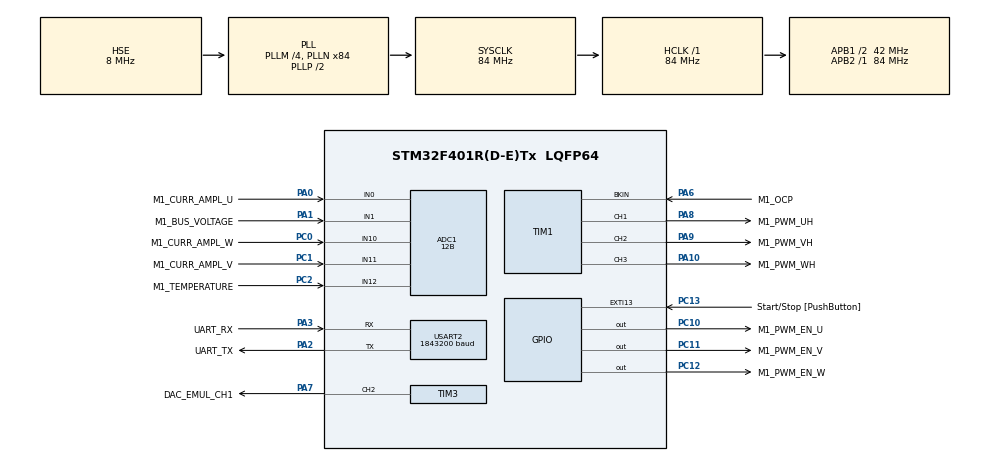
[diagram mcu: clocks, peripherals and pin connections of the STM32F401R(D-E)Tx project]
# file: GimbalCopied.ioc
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ADC1.Channel-1\#ChannelInjectedConversion=ADC_CHANNEL_0
ADC1.Channel-1\#ChannelRegularConversion=ADC_CHANNEL_1
ADC1.Channel-2\#ChannelInjectedConversion=ADC_CHANNEL_11
ADC1.Channel-2\#ChannelRegularConversion=ADC_CHANNEL_12
ADC1.Channel-3\#ChannelInjectedConversion=ADC_CHANNEL_10
ADC1.ClockPrescaler=ADC_CLOCK_SYNC_PCLK_DIV4
ADC1.ContinuousConvMode=DISABLE
ADC1.DMAContinuousRequests=DISABLE
ADC1.DataAlign=ADC_DATAALIGN_LEFT
ADC1.DiscontinuousConvMode=DISABLE
ADC1.EOCSelection=ADC_EOC_SINGLE_CONV
ADC1.EnableAnalogWatchDog=false
ADC1.EnableInjectedConversion=ENABLE
ADC1.EnableRegularConversion=ENABLE
ADC1.ExternalTrigConv=ADC_SOFTWARE_START
ADC1.ExternalTrigConvEdge=ADC_EXTERNALTRIGCONVEDGE_NONE
ADC1.ExternalTrigInjecConv=ADC_EXTERNALTRIGINJECCONV_T1_CC4
ADC1.ExternalTrigInjecConvEdge=ADC_EXTERNALTRIGINJECCONVEDGE_RISING
ADC1.InjNumberOfConversion=3
ADC1.InjectedConvMode=None
ADC1.InjectedOffset-1\#ChannelInjectedConversion=0
ADC1.InjectedOffset-2\#ChannelInjectedConversion=0
ADC1.InjectedOffset-3\#ChannelInjectedConversion=0
ADC1.InjectedRank-1\#ChannelInjectedConversion=1
ADC1.InjectedRank-2\#ChannelInjectedConversion=2
ADC1.InjectedRank-3\#ChannelInjectedConversion=3
ADC1.NbrOfConversion=2
ADC1.NbrOfConversionFlag=1
ADC1.Offset-1\#ChannelRegularConversion=0
ADC1.Offset-2\#ChannelRegularConversion=0
ADC1.OffsetNumber-1\#ChannelRegularConversion=ADC_OFFSET_NONE
ADC1.OffsetNumber-2\#ChannelRegularConversion=ADC_OFFSET_NONE
ADC1.Rank-1\#ChannelRegularConversion=1
ADC1.Rank-2\#ChannelRegularConversion=2
ADC1.Resolution=ADC_RESOLUTION_12B
ADC1.SamplingTime-1\#ChannelInjectedConversion=ADC_SAMPLETIME_15CYCLES
ADC1.SamplingTime-1\#ChannelRegularConversion=ADC_SAMPLETIME_28CYCLES
ADC1.SamplingTime-2\#ChannelInjectedConversion=ADC_SAMPLETIME_15CYCLES
ADC1.SamplingTime-2\#ChannelRegularConversion=ADC_SAMPLETIME_28CYCLES
ADC1.SamplingTime-3\#ChannelInjectedConversion=ADC_SAMPLETIME_15CYCLES
ADC1.ScanConvMode=ENABLE
ADC1.master=1
Dma.Request0=USART2_RX
Dma.Request1=USART2_TX
Dma.USART2_RX.0.Direction=DMA_PERIPH_TO_MEMORY
Dma.USART2_RX.0.FIFOMode=DMA_FIFOMODE_DISABLE
Dma.USART2_RX.0.Instance=DMA1_Stream5
Dma.USART2_RX.0.MemDataAlignment=DMA_MDATAALIGN_BYTE
Dma.USART2_RX.0.MemInc=DMA_MINC_ENABLE
Dma.USART2_RX.0.Mode=DMA_NORMAL
Dma.USART2_RX.0.PeriphDataAlignment=DMA_PDATAALIGN_BYTE
Dma.USART2_RX.0.PeriphInc=DMA_PINC_DISABLE
Dma.USART2_RX.0.Priority=DMA_PRIORITY_LOW
Dma.USART2_TX.1.Direction=DMA_MEMORY_TO_PERIPH
Dma.USART2_TX.1.FIFOMode=DMA_FIFOMODE_DISABLE
Dma.USART2_TX.1.Instance=DMA1_Stream6
Dma.USART2_TX.1.MemDataAlignment=DMA_MDATAALIGN_BYTE
Dma.USART2_TX.1.MemInc=DMA_MINC_ENABLE
Dma.USART2_TX.1.Mode=DMA_NORMAL
Dma.USART2_TX.1.PeriphDataAlignment=DMA_PDATAALIGN_BYTE
Dma.USART2_TX.1.PeriphInc=DMA_PINC_DISABLE
Dma.USART2_TX.1.Priority=DMA_PRIORITY_LOW
ExtraMW=MotorControl
ExtraMW.MotorControl.Config=MotorControl
ExtraMW.MotorControl.Mode=MotorControl
ExtraMW.MotorControl.Root=MCSDK_v6.1.2-Full/MotorControl
ExtraMW.MotorControl.Template=templates
FREERTOS.Tasks01=mediumFrequency,0,128,startMediumFrequencyTask,As weak,NULL,Dynamic,NULL,NULL;safety,1,128,StartSafetyTask,As external,NULL,Dynamic,NULL,NULL;userTask,-2,128,StartUserTask,Default,NULL,Dynamic,NULL,NULL;motorTask,-1,128,StartMotorTask,Default,NULL,Dynamic,NULL,NULL
FREERTOS.configUSE_NEWLIB_REENTRANT=1
Mcu.Family=STM32F4
Mcu.Name=STM32F401R(D-E)Tx
Mcu.Package=LQFP64
MotorControl.ADC_AHBPERIPH=RCC_AHBPeriph_ADC1
MotorControl.ADC_CLOCK_WB_DIV=1
MotorControl.ADC_PERIPH=ADC1
MotorControl.ADC_REFERENCE_VOLTAGE=3.3
MotorControl.AMPLIFICATION_GAIN=1.53
MotorControl.ANGC={0,0,0,0,0,0,0,0}
MotorControl.BEMF_CONSISTENCY_GAIN=64
MotorControl.BEMF_CONSISTENCY_TOL=64
MotorControl.BKIN1_FILTER=3
MotorControl.BKIN2_FILTER=0
MotorControl.BKIN2_MODE=NONE
MotorControl.BKIN_MODE=EXT_MODE
MotorControl.BOARD=NUCLEO-F401RE
MotorControl.BUS_VOLTAGE_READING=true
MotorControl.CCMRAM_ENABLED=false
MotorControl.CLOCK_FREQUENCY=CPU_CLK_84_MHZ
MotorControl.CLOCK_SOURCE=EXTERNAL
MotorControl.CONSTANT1_D=2875
MotorControl.CONSTANT1_Q=2875
MotorControl.CONSTANT2_QD=2718
MotorControl.CPU_CLK_84_MHZ=true
MotorControl.CTLBOARD_NAME=NUCLEO-F401RE
MotorControl.CUBE_MX_VER=6.9.1
MotorControl.CURRENT_READING_TOPOLOGY=THREE_SHUNT
MotorControl.CURR_SAMPLING_TIME=15
MotorControl.DAC_EMULATED=true
MotorControl.DAC_EMULATED_1=CH2
MotorControl.DAC_FUNCTIONALITY=true
MotorControl.DAC_TIMER_CH1_GPIO_PIN=LL_GPIO_PIN_7
MotorControl.DAC_TIMER_CH1_GPIO_PORT=GPIOA
MotorControl.DAC_TIMER_SELECTION=TIM3
MotorControl.DC_CURRENT_RS_MEAS=0.2
MotorControl.DEBUG_DAC_CH1=true
MotorControl.DEFAULT_CONTROL_MODE=STC_SPEED_MODE
MotorControl.DEFAULT_FLUX_COMPONENT=0
MotorControl.DEFAULT_TARGET_SPEED_RPM=50
MotorControl.DEFAULT_TORQUE_COMPONENT=12016
MotorControl.DISCONTINUOUS_PWM=false
MotorControl.DRIVES_NUMBER_SELECTION=SINGLEDRIVE
MotorControl.DRIVE_TYPE=FOC
MotorControl.EMERGENCY2_STOP_GPIO_PIN=LL_GPIO_PIN_6
MotorControl.EMERGENCY2_STOP_GPIO_PORT=GPIOA
MotorControl.EMERGENCY_STOP_GPIO_PIN=LL_GPIO_PIN_6
MotorControl.EMERGENCY_STOP_GPIO_PORT=GPIOA
MotorControl.ENABLE_SL_ALGO_FROM_PHASE=3
MotorControl.ENCODER_AVAILABLE=false
MotorControl.ENCODER_PPR=400
MotorControl.EXT_CLK_8_MHZ=true
MotorControl.EXT_CLOCK_FREQUENCY=EXT_CLK_8_MHZ
MotorControl.F1=1024
MotorControl.F2=16384
MotorControl.FEEDBACK_NET_FILTERING=false
MotorControl.FEED_FORWARD_CURRENT_REG_ENABLING=false
MotorControl.FLUX_WEAKENING_ENABLING=false
MotorControl.FW_KIDIV=32768
MotorControl.FW_KI_GAIN=5000
MotorControl.FW_KPDIV=32768
MotorControl.FW_KP_GAIN=3000
MotorControl.FW_VOLTAGE_REF=985
MotorControl.GAIN1=-1380
MotorControl.GAIN2=2898
MotorControl.HALL_PHASE_SHIFT=300
MotorControl.HALL_SENSORS_AVAILABLE=false
MotorControl.HALL_SENSORS_PLACEMENT=DEGREES_120
MotorControl.HIGH_SIDE_IDLE_STATE=false
MotorControl.HWV_CS=ThreeShunt_AmplifiedCurrents
MotorControl.HWV_OCP=OnPowerStageOCP
MotorControl.HWV_PWM=DrivingHighSidesAndThreeEnables
MotorControl.HW_COMPLEMENTED_LOW_SIDE=true
MotorControl.HW_DEAD_TIME_NS=1000
MotorControl.ID_DEMAG=-2002
MotorControl.IPs=NVIC,RCC,MotorControl,TIM1,ADC1,TIM3,USART2,FREERTOS,DMA
MotorControl.IQMAX=2002
MotorControl.LDLQ_RATIO=1.000
MotorControl.LOW_SIDE_IDLE_STATE=false
MotorControl.LOW_SIDE_SIGNALS_ENABLING=ES_GPIO
MotorControl.LS=0.000018
MotorControl.M1_CS_ADC_NUM=1
MotorControl.M1_CS_ADC_PHASE_SHARED=None
MotorControl.M1_CS_ADC_U=ADC1
MotorControl.M1_CS_ADC_V=ADC1
MotorControl.M1_CS_ADC_W=ADC1
MotorControl.M1_CS_CHANNEL_U=0
MotorControl.M1_CS_CHANNEL_V=11
MotorControl.M1_CS_CHANNEL_W=10
MotorControl.M1_CURRENT_AMPLIFICATION_TOPO=EXTERNAL
MotorControl.M1_CURRENT_PROTECTION_DESTINATION=TIM_BKIN
MotorControl.M1_CURRENT_PROTECTION_TOPOLOGY=EXTERNAL
MotorControl.M1_CURRENT_SENSING_TOPO=THREE_SHUNT
MotorControl.M1_DBG_OPEN_LOOP_ENABLE=true
MotorControl.M1_ICL_ENABLED=false
MotorControl.M1_OVP_THRESHOLD_HIGH=17
MotorControl.M1_POTENTIOMETER_ENABLE=false
MotorControl.M1_PWM_CHARGE_BOOT_CAP_DUTY_CYCLES=0.000
MotorControl.M1_PWM_CHARGE_BOOT_CAP_MS=10
MotorControl.M1_PWM_DRIVER_PN=L6230
MotorControl.M1_SS_MEAS_ERRORS_BEFORE_FAULTS=5
MotorControl.MAX_APPLICATION_SPEED=15000
MotorControl.MAX_MODULATION_81_PER_CENT=true
MotorControl.MAX_MODULATION_INDEX=MAX_MODULATION_81_PER_CENT
MotorControl.MAX_READABLE_CURRENT=3.272
MotorControl.MCP_ASPEP_OVER_UART=true
MotorControl.MCP_DATALOG_OVER_ASPEP=true
MotorControl.MCP_DATALOG_OVER_UART_A=true
MotorControl.MCP_DATALOG_OVER_UART_A_SIGNALS=10
MotorControl.MCP_DATALOG_PAYLOAD_MAX_UART_A=2048
MotorControl.MCP_DATALOG_USED=true
MotorControl.MCP_DMACH_RX_UART_A=5
MotorControl.MCP_DMACH_TX_UART_A=6
MotorControl.MCP_DMA_RX_UART_A=DMA1
MotorControl.MCP_DMA_TX_UART_A=DMA1
MotorControl.MCP_IRQ_HANDLER_DMA_RX_UART_A=DMA1_Stream5_IRQHandler
MotorControl.MCP_IRQ_HANDLER_UART_A=USART2_IRQHandler
MotorControl.MCP_OVER_ASPEP=true
MotorControl.MCP_OVER_STLNK=false
MotorControl.MCP_OVER_UART_A=true
MotorControl.MCP_OVER_UART_B=false
MotorControl.MCP_RX_SYNC_PAYLOAD_MAX=128
MotorControl.MCP_TX_SYNC_PAYLOAD_MAX=128
MotorControl.MCP_UART_SELECTION_A=USART2
MotorControl.MCP_USED=true
MotorControl.MCU=STM32F401RE
MotorControl.MCU_FAMILY=STM32F4
MotorControl.MCU_LINE=STM32F401
MotorControl.MCU_NAME=STM32F401R(D-E)Tx
MotorControl.MCU_PACKAGE=LQFP64
MotorControl.MCU_TYPE=STM32F401RE
MotorControl.MCU_USERNAME=STM32F401RETx
MotorControl.MC_WORKBENCH_VERSION=6.1.2
MotorControl.MIN_APPLICATION_SPEED=1
MotorControl.MOTOR_MAX_SPEED_RPM=15000
MotorControl.MOTOR_NAME=Bull Running BR2804-1700
MotorControl.MOTOR_TYPE=PMSM
MotorControl.MOTOR_VOLTAGE_CONSTANT=0.4
MotorControl.MTPA_ENABLING=false
MotorControl.NB_CONSECUTIVE_TESTS=5
MotorControl.NOMINAL_BUS_VOLTAGE_V=14
MotorControl.NOMINAL_CURRENT=2002
MotorControl.OBS_MINIMUM_SPEED_RPM=1
MotorControl.OFST={0,0,0,0,0,0,0,0}
MotorControl.ON_OVER_VOLTAGE=TURN_OFF_PWM
MotorControl.OVERCURR_FEEDBACK_POLARITY=EMSTOP_ACTIVE_LOW
MotorControl.OVERMODULATION=false
MotorControl.OV_TEMPERATURE_HYSTERESIS_C=10
MotorControl.OV_TEMPERATURE_PROT_ENABLING=true
MotorControl.OV_TEMPERATURE_THRESHOLD_C=110
MotorControl.OV_VOLTAGE_PROT_ENABLING=true
MotorControl.OV_VOLTAGE_THRESHOLD_V=17
MotorControl.PHASE1_DURATION=500
MotorControl.PHASE1_FINAL_CURRENT=2002
MotorControl.PHASE1_FINAL_SPEED_RPM=10
MotorControl.PHASE2_DURATION=500
MotorControl.PHASE2_FINAL_CURRENT=2002
MotorControl.PHASE2_FINAL_SPEED_RPM=20
MotorControl.PHASE3_DURATION=500
MotorControl.PHASE3_FINAL_CURRENT=2002
MotorControl.PHASE3_FINAL_SPEED_RPM=30
MotorControl.PHASE4_DURATION=500
MotorControl.PHASE4_FINAL_CURRENT=2002
MotorControl.PHASE4_FINAL_SPEED_RPM=40
MotorControl.PHASE5_DURATION=1500
MotorControl.PHASE5_FINAL_CURRENT=2002
MotorControl.PHASE5_FINAL_SPEED_RPM=40
MotorControl.PHASE_UH_GPIO_PIN=LL_GPIO_PIN_8
MotorControl.PHASE_UH_GPIO_PORT=GPIOA
MotorControl.PHASE_UH_POLARITY=H_ACTIVE_HIGH
MotorControl.PHASE_UL_GPIO_PIN=LL_GPIO_PIN_10
MotorControl.PHASE_UL_GPIO_PORT=GPIOC
MotorControl.PHASE_UL_POLARITY=L_ACTIVE_HIGH
MotorControl.PHASE_U_CURR_ADC=ADC1
MotorControl.PHASE_U_CURR_CHANNEL=ADC_CHANNEL_0
MotorControl.PHASE_U_GPIO_PIN=LL_GPIO_PIN_0
MotorControl.PHASE_U_GPIO_PORT=GPIOA
MotorControl.PHASE_VH_GPIO_PIN=LL_GPIO_PIN_9
MotorControl.PHASE_VH_GPIO_PORT=GPIOA
MotorControl.PHASE_VH_POLARITY=H_ACTIVE_HIGH
MotorControl.PHASE_VL_GPIO_PIN=LL_GPIO_PIN_11
MotorControl.PHASE_VL_GPIO_PORT=GPIOC
MotorControl.PHASE_VL_POLARITY=L_ACTIVE_HIGH
MotorControl.PHASE_V_CURR_ADC=ADC1
MotorControl.PHASE_V_CURR_CHANNEL=ADC_CHANNEL_11
MotorControl.PHASE_V_GPIO_PIN=LL_GPIO_PIN_1
MotorControl.PHASE_V_GPIO_PORT=GPIOC
MotorControl.PHASE_WH_GPIO_PIN=LL_GPIO_PIN_10
MotorControl.PHASE_WH_GPIO_PORT=GPIOA
MotorControl.PHASE_WH_POLARITY=H_ACTIVE_HIGH
MotorControl.PHASE_WL_GPIO_PIN=LL_GPIO_PIN_12
MotorControl.PHASE_WL_GPIO_PORT=GPIOC
MotorControl.PHASE_WL_POLARITY=L_ACTIVE_HIGH
MotorControl.PHASE_W_CURR_ADC=ADC1
MotorControl.PHASE_W_CURR_CHANNEL=ADC_CHANNEL_10
MotorControl.PHASE_W_GPIO_PIN=LL_GPIO_PIN_0
MotorControl.PHASE_W_GPIO_PORT=GPIOC
MotorControl.PID_FLUX_KD_DEFAULT=100
MotorControl.PID_FLUX_KI_DEFAULT=42
MotorControl.PID_FLUX_KP_DEFAULT=207
MotorControl.PID_SPEED_KD_DEFAULT=0
MotorControl.PID_SPEED_KI_DEFAULT=1271
MotorControl.PID_SPEED_KP_DEFAULT=3952
MotorControl.PID_TORQUE_KD_DEFAULT=100
MotorControl.PID_TORQUE_KI_DEFAULT=42
MotorControl.PID_TORQUE_KP_DEFAULT=207
MotorControl.PLL_KI_GAIN=11
MotorControl.PLL_KP_GAIN=1862
MotorControl.POLE_PAIR_NUM=7
MotorControl.POSITION_CTRL_ENABLING=false
MotorControl.POTENTIOMETER_READING=false
MotorControl.POWERBOARD_NAME=X-NUCLEO-IHM07M1
MotorControl.PWM_FREQUENCY=30000
MotorControl.PWM_TIMER_SELECTION=PWM_TIM1
MotorControl.REGULATION_EXECUTION_RATE=1
MotorControl.RS=0.11
MotorControl.RSHUNT=0.33
MotorControl.RTOS=FREERTOS
MotorControl.RTOS_IRQ_NAME_WB2MX=TIM2_IRQn
MotorControl.RTOS_TIMER=TIM2
MotorControl.RTOS_USE_IRQ=true
MotorControl.R_BRAKE_SWITCH_OFF_THRES_V=13
MotorControl.SEGDIV=0
MotorControl.SHARED_SIGNAL_ENABLE=false
MotorControl.SINGLEDRIVE=true
MotorControl.SPD_DIFFERENTIAL_TERM_ENABLING=false
MotorControl.SPEED_BAND_LOWER_LIMIT=15
MotorControl.SPEED_BAND_UPPER_LIMIT=17
MotorControl.SPEED_FEEDBACK_CHECK=true
MotorControl.SPEED_LOOP_FREQUENCY_HZ=1000
MotorControl.SPEED_SENSOR_SELECTION=STATE_OBSERVER_PLL
MotorControl.SP_KDDIV=16
MotorControl.SP_KIDIV=16384
MotorControl.SP_KPDIV=64
MotorControl.STARTING_ANGLE_DEG=0
MotorControl.START_STOP_BTN=true
MotorControl.START_STOP_GPIO_PIN=LL_GPIO_PIN_13
MotorControl.START_STOP_GPIO_PORT=GPIOC
MotorControl.START_STOP_POLARITY=DIN_ACTIVE_LOW
MotorControl.START_STOP_POLARITY_EDGE=GPIO_NOPULL
MotorControl.STATE_OBSERVER_PLL=true
MotorControl.STM32F401RE=true
MotorControl.STO_FIFO_DEPTH_01HZ=64
MotorControl.STO_FIFO_DEPTH_DPP=64
MotorControl.SW_DEADTIME_NS=1000
MotorControl.SW_OV_CURRENT_PROT_ENABLING=true
MotorControl.T0_C=25
MotorControl.TEMPERATURE_READING=true
MotorControl.TEMP_ADC_SAMPLING_TIME=28
MotorControl.TEMP_FDBK_ADC=ADC1
MotorControl.TEMP_FDBK_CHANNEL=ADC_CHANNEL_12
MotorControl.TEMP_FDBK_GPIO_PIN=LL_GPIO_PIN_2
MotorControl.TEMP_FDBK_GPIO_PORT=GPIOC
MotorControl.TFDIFFERENTIAL_TERM_ENABLING=false
MotorControl.TF_KDDIV=8192
MotorControl.TF_KIDIV=16384
MotorControl.TF_KPDIV=16384
MotorControl.THREE_SHUNT=true
MotorControl.TNOISE_NS=700
MotorControl.TRANSITION_DURATION=1500
MotorControl.TRISE_NS=1800
MotorControl.T_MAX=110
MotorControl.UD_VOLTAGE_THRESHOLD_V=8
MotorControl.USART_RX_GPIO_PIN=LL_GPIO_PIN_3
MotorControl.USART_RX_GPIO_PORT=GPIOA
MotorControl.USART_SELECTION=USE_USART2
MotorControl.USART_SPEED=1843200
MotorControl.USART_TX_GPIO_PIN=LL_GPIO_PIN_2
MotorControl.USART_TX_GPIO_PORT=GPIOA
MotorControl.USE_3OPAMPS=false
MotorControl.USE_INTERNAL_OPAMP=false
MotorControl.UV_VOLTAGE_PROT_ENABLING=true
MotorControl.V0_V=1.055
MotorControl.VARIANCE_THRESHOLD=0.25
MotorControl.VBUS_ADC=ADC1
MotorControl.VBUS_ADC_SAMPLING_TIME=28
MotorControl.VBUS_CHANNEL=ADC_CHANNEL_1
MotorControl.VBUS_GPIO_PIN=LL_GPIO_PIN_1
MotorControl.VBUS_GPIO_PORT=GPIOA
MotorControl.VBUS_PARTITIONING_FACTOR=0.052164840897235255
MotorControl.WB_UI_ENCODER_HAS_INDEX_PIN=false
MotorControl.WB_UI_FRICTION=0.437
MotorControl.WB_UI_INERTIA=0.348
MotorControl.WB_UI_MAGNETIC_STRUCTURE=SM-PMSM
MotorControl.WB_UI_MAX_CURRENT=2.3
MotorControl.WB_UI_MAX_NOMINAL_DC_VOLTAGE=14
MotorControl.WB_to_Mx_template_version=22-12-05
MotorControl.WB_to_Mx_version=6.1.0
MotorControl.dV_dT=0.023
NVIC.ADC_IRQn=true\:7\:0\:true\:true\:false\:3\:true\:false\:true\:true
NVIC.DMA1_Stream5_IRQn=true\:8\:0\:true\:true\:false\:2\:true\:true\:true\:true
NVIC.EXTI15_10_IRQn=true\:8\:0\:true\:true\:false\:6\:true\:true\:true\:true
NVIC.PriorityGroup=NVIC_PRIORITYGROUP_4
NVIC.TIM1_BRK_TIM9_IRQn=true\:9\:0\:true\:true\:false\:5\:true\:true\:true\:true
NVIC.TIM1_UP_TIM10_IRQn=true\:5\:0\:true\:true\:false\:4\:true\:true\:true\:true
NVIC.TIM2_IRQn=true\:0\:0\:false\:false\:true\:false\:false\:true\:true
NVIC.TimeBase=TIM2_IRQn
NVIC.TimeBaseIP=TIM2
NVIC.USART2_IRQn=true\:8\:0\:true\:true\:false\:1\:true\:true\:true\:true
PA0-WKUP.GPIO_Label=M1_CURR_AMPL_U
PA0-WKUP.Signal=ADCx_IN0
PA1.GPIO_Label=M1_BUS_VOLTAGE
PA1.Signal=ADCx_IN1
PA10.GPIO_Label=M1_PWM_WH
PA10.GPIO_PuPd=GPIO_PULLDOWN
PA10.GPIO_Speed=GPIO_SPEED_FREQ_HIGH
PA10.Signal=S_TIM1_CH3
PA2.GPIO_Label=UART_TX
PA2.GPIO_Mode=GPIO_MODE_AF_PP
PA2.GPIO_PuPd=GPIO_NOPULL
PA2.GPIO_Speed=GPIO_SPEED_FREQ_LOW
PA2.Mode=Asynchronous
PA2.Signal=USART2_TX
PA3.GPIO_Label=UART_RX
PA3.GPIO_Mode=GPIO_MODE_AF_PP
PA3.GPIO_PuPd=GPIO_NOPULL
PA3.GPIO_Speed=GPIO_SPEED_FREQ_LOW
PA3.Mode=Asynchronous
PA3.Signal=USART2_RX
PA6.GPIO_Label=M1_OCP
PA6.GPIO_PuPd=GPIO_PULLUP
PA6.Mode=Activate-Break-Input
PA6.Signal=TIM1_BKIN
PA7.GPIO_Label=DAC_EMUL_CH1
PA7.Signal=S_TIM3_CH2
PA8.GPIO_Label=M1_PWM_UH
PA8.GPIO_PuPd=GPIO_PULLDOWN
PA8.GPIO_Speed=GPIO_SPEED_FREQ_HIGH
PA8.Signal=S_TIM1_CH1
PA9.GPIO_Label=M1_PWM_VH
PA9.GPIO_PuPd=GPIO_PULLDOWN
PA9.GPIO_Speed=GPIO_SPEED_FREQ_HIGH
PA9.Signal=S_TIM1_CH2
PC0.GPIO_Label=M1_CURR_AMPL_W
PC0.Signal=ADCx_IN10
PC1.GPIO_Label=M1_CURR_AMPL_V
PC1.Signal=ADCx_IN11
PC10.GPIO_Label=M1_PWM_EN_U
PC10.GPIO_PuPd=GPIO_PULLDOWN
PC10.GPIO_Speed=GPIO_SPEED_FREQ_HIGH
PC10.Signal=GPIO_Output
PC11.GPIO_Label=M1_PWM_EN_V
PC11.GPIO_PuPd=GPIO_PULLDOWN
PC11.GPIO_Speed=GPIO_SPEED_FREQ_HIGH
PC11.Signal=GPIO_Output
PC12.GPIO_Label=M1_PWM_EN_W
PC12.GPIO_PuPd=GPIO_PULLDOWN
PC12.GPIO_Speed=GPIO_SPEED_FREQ_HIGH
PC12.Signal=GPIO_Output
PC13-ANTI_TAMP.GPIO_Label=Start/Stop [PushButton]
PC13-ANTI_TAMP.GPIO_ModeDefaultEXTI=GPIO_MODE_IT_FALLING
PC13-ANTI_TAMP.GPIO_PuPd=GPIO_NOPULL
PC13-ANTI_TAMP.Signal=GPXTI13
PC2.GPIO_Label=M1_TEMPERATURE
PC2.Signal=ADCx_IN12
PH0\ -\ OSC_IN.Mode=HSE-External-Oscillator
PH0\ -\ OSC_IN.Signal=RCC_OSC_IN
PH1\ -\ OSC_OUT.Mode=HSE-External-Oscillator
PH1\ -\ OSC_OUT.Signal=RCC_OSC_OUT
ProjectManager.HeapSize=0x200
ProjectManager.StackSize=0x400
ProjectManager.TargetToolchain=STM32CubeIDE
RCC.48MHZClocksFreq_Value=42000000
RCC.AHBFreq_Value=84000000
RCC.APB1CLKDivider=RCC_HCLK_DIV2
RCC.APB1Freq_Value=42000000
RCC.APB1TimFreq_Value=84000000
RCC.APB2Freq_Value=84000000
RCC.APB2TimFreq_Value=84000000
RCC.CortexFreq_Value=84000000
RCC.EnbaleCSS=true
RCC.HCLKFreq_Value=84000000
RCC.HSE_VALUE=8000000
RCC.HSI_VALUE=16000000
RCC.LSE_VALUE=32768
RCC.PLLM=4
RCC.PLLN=84
RCC.PLLSourceVirtual=RCC_PLLSOURCE_HSE
RCC.SYSCLKFreq_VALUE=84000000
RCC.SYSCLKSource=RCC_SYSCLKSOURCE_PLLCLK
RCC.VCOOutputFreq_Value=168000000
SH.ADCx_IN0.0=ADC1_IN0,IN0
SH.ADCx_IN1.0=ADC1_IN1,IN1
SH.ADCx_IN10.0=ADC1_IN10,IN10
SH.ADCx_IN11.0=ADC1_IN11,IN11
SH.ADCx_IN12.0=ADC1_IN12,IN12
SH.S_TIM1_CH1.0=TIM1_CH1,PWM Generation1 CH1
SH.S_TIM1_CH2.0=TIM1_CH2,PWM Generation2 CH2
SH.S_TIM1_CH3.0=TIM1_CH3,PWM Generation3 CH3
SH.S_TIM3_CH2.0=TIM3_CH2,PWM Generation2 CH2
TIM1.AutoReloadPreload=TIM_AUTORELOAD_PRELOAD_DISABLE
TIM1.AutomaticOutput=TIM_AUTOMATICOUTPUT_DISABLE
TIM1.BreakPolarity=TIM_BREAKPOLARITY_LOW
TIM1.BreakState=TIM_BREAK_ENABLE
TIM1.Channel-PWM\ Generation1\ CH1=TIM_CHANNEL_1
TIM1.Channel-PWM\ Generation2\ CH2=TIM_CHANNEL_2
TIM1.Channel-PWM\ Generation3\ CH3=TIM_CHANNEL_3
TIM1.Channel-PWM\ Generation4\ No\ Output=TIM_CHANNEL_4
TIM1.ClearInputSource=TIM_CLEARINPUTSOURCE_NONE
TIM1.ClockDivision=TIM_CLOCKDIVISION_DIV2
TIM1.CounterMode=TIM_COUNTERMODE_CENTERALIGNED1
TIM1.LockLevel=TIM_LOCKLEVEL_1
TIM1.OC1Preload_PWM=ENABLE
TIM1.OC2Preload_PWM=ENABLE
TIM1.OC3Preload_PWM=ENABLE
TIM1.OC4Preload_PWM=ENABLE
TIM1.OCIdleState_1=TIM_OCIDLESTATE_RESET
TIM1.OCIdleState_2=TIM_OCIDLESTATE_RESET
TIM1.OCIdleState_3=TIM_OCIDLESTATE_RESET
TIM1.OCIdleState_4=TIM_OCIDLESTATE_RESET
TIM1.OCMode_PWM-PWM\ Generation1\ CH1=TIM_OCMODE_PWM1
TIM1.OCMode_PWM-PWM\ Generation2\ CH2=TIM_OCMODE_PWM1
TIM1.OCMode_PWM-PWM\ Generation3\ CH3=TIM_OCMODE_PWM1
TIM1.OCMode_PWM-PWM\ Generation4\ No\ Output=TIM_OCMODE_PWM2
TIM1.OCPolarity_1=TIM_OCPOLARITY_HIGH
TIM1.OCPolarity_2=TIM_OCPOLARITY_HIGH
TIM1.OCPolarity_3=TIM_OCPOLARITY_HIGH
TIM1.OCPolarity_4=TIM_OCPOLARITY_HIGH
TIM1.OffStateIDLEMode=TIM_OSSI_ENABLE
TIM1.OffStateRunMode=TIM_OSSR_ENABLE
TIM1.Period=((PWM_PERIOD_CYCLES) / 2)
TIM1.Prescaler=((TIM_CLOCK_DIVIDER) - 1)
TIM1.Pulse-PWM\ Generation1\ CH1=((PWM_PERIOD_CYCLES) / 4)
TIM1.Pulse-PWM\ Generation2\ CH2=((PWM_PERIOD_CYCLES) / 4)
TIM1.Pulse-PWM\ Generation3\ CH3=((PWM_PERIOD_CYCLES) / 4)
TIM1.Pulse-PWM\ Generation4\ No\ Output=(((PWM_PERIOD_CYCLES) / 2) - (HTMIN))
TIM1.RepetitionCounter=(REP_COUNTER)
TIM1.TIM_MasterOutputTrigger=TIM_TRGO_RESET
TIM1.TIM_MasterSlaveMode=TIM_MASTERSLAVEMODE_DISABLE
TIM3.AutoReloadPreload=TIM_AUTORELOAD_PRELOAD_DISABLE
TIM3.Channel-PWM\ Generation2\ CH2=TIM_CHANNEL_2
TIM3.ClockDivision=TIM_CLOCKDIVISION_DIV1
TIM3.CounterMode=TIM_COUNTERMODE_UP
TIM3.OCFastMode_PWM-PWM\ Generation2\ CH2=TIM_OCFAST_DISABLE
TIM3.OCMode_PWM-PWM\ Generation2\ CH2=TIM_OCMODE_PWM1
TIM3.OCPolarity_2=TIM_OCPOLARITY_HIGH
TIM3.Period=0x800
TIM3.Prescaler=0
TIM3.Pulse-PWM\ Generation2\ CH2=0x400
TIM3.TIM_MasterOutputTrigger=TIM_TRGO_RESET
TIM3.TIM_MasterSlaveMode=TIM_MASTERSLAVEMODE_DISABLE
USART2.BaudRate=1843200
USART2.VirtualMode=VM_ASYNC
USART2.VirtualMode-Asynchronous=VM_ASYNC
USART2.WordLength=WORDLENGTH_8B
VP_FREERTOS_VS_CMSIS_V1.Mode=CMSIS_V1
VP_MotorControl_MC_ENABLED.Mode=Enabled
VP_SYS_VS_tim2.Mode=TIM2
VP_TIM1_VS_ClockSourceITR.Mode=TriggerSource_ITR1
VP_TIM1_VS_ControllerModeTrigger.Mode=Trigger Mode
VP_TIM1_VS_no_output4.Mode=PWM Generation4 No Output
board=custom

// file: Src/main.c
/* USER CODE BEGIN Header */
/**
  ******************************************************************************
  * @file           : main.c
  * @brief          : Main program body
  ******************************************************************************
  * @attention
  *
  * Copyright (c) 2023 STMicroelectronics.
  * All rights reserved.
  *
  * This software is licensed under terms that can be found in the LICENSE file
  * in the root directory of this software component.
  * If no LICENSE file comes with this software, it is provided AS-IS.
  *
  ******************************************************************************
  */
/* USER CODE END Header */
#include "main.h"
#include "cmsis_os.h"

ADC_HandleTypeDef hadc1;

TIM_HandleTypeDef htim1;
TIM_HandleTypeDef htim3;

UART_HandleTypeDef huart2;
DMA_HandleTypeDef hdma_usart2_rx;
DMA_HandleTypeDef hdma_usart2_tx;

osThreadId mediumFrequencyHandle;
osThreadId safetyHandle;
osThreadId userTaskHandle;
osThreadId motorTaskHandle;

void SystemClock_Config(void);
static void MX_GPIO_Init(void);
static void MX_DMA_Init(void);
static void MX_ADC1_Init(void);
static void MX_TIM1_Init(void);
static void MX_TIM3_Init(void);
static void MX_USART2_UART_Init(void);
void startMediumFrequencyTask(void const * argument);
extern void StartSafetyTask(void const * argument);
void StartUserTask(void const * argument);
void StartMotorTask(void const * argument);

static void MX_NVIC_Init(void);

int main(void)
{

  /* MCU Configuration--------------------------------------------------------*/

  /* Reset of all peripherals, Initializes the Flash interface and the Systick. */
  HAL_Init();

  /* Configure the system clock */
  SystemClock_Config();

  /* Initialize all configured peripherals */
  MX_GPIO_Init();
  MX_DMA_Init();
  MX_ADC1_Init();
  MX_TIM1_Init();
  MX_TIM3_Init();
  MX_USART2_UART_Init();
  MX_MotorControl_Init();

  /* Initialize interrupts */
  MX_NVIC_Init();

  /* Create the thread(s) */
  /* definition and creation of mediumFrequency */
  osThreadDef(mediumFrequency, startMediumFrequencyTask, osPriorityNormal, 0, 128);
  mediumFrequencyHandle = osThreadCreate(osThread(mediumFrequency), NULL);

  /* definition and creation of safety */
  osThreadDef(safety, StartSafetyTask, osPriorityAboveNormal, 0, 128);
  safetyHandle = osThreadCreate(osThread(safety), NULL);

  /* definition and creation of userTask */
  osThreadDef(userTask, StartUserTask, osPriorityLow, 0, 128);
  userTaskHandle = osThreadCreate(osThread(userTask), NULL);

  /* definition and creation of motorTask */
  osThreadDef(motorTask, StartMotorTask, osPriorityBelowNormal, 0, 128);
  motorTaskHandle = osThreadCreate(osThread(motorTask), NULL);

  /* Start scheduler */
  osKernelStart();

  /* We should never get here as control is now taken by the scheduler */
  /* Infinite loop */
  while (1)
  {

  }
}

void SystemClock_Config(void)
{
  RCC_OscInitTypeDef RCC_OscInitStruct = {0};
  RCC_ClkInitTypeDef RCC_ClkInitStruct = {0};

  /** Configure the main internal regulator output voltage
  */
  __HAL_RCC_PWR_CLK_ENABLE();
  __HAL_PWR_VOLTAGESCALING_CONFIG(PWR_REGULATOR_VOLTAGE_SCALE2);

  /** Initializes the RCC Oscillators according to the specified parameters
  * in the RCC_OscInitTypeDef structure.
  */
  RCC_OscInitStruct.OscillatorType = RCC_OSCILLATORTYPE_HSE;
  RCC_OscInitStruct.HSEState = RCC_HSE_ON;
  RCC_OscInitStruct.PLL.PLLState = RCC_PLL_ON;
  RCC_OscInitStruct.PLL.PLLSource = RCC_PLLSOURCE_HSE;
  RCC_OscInitStruct.PLL.PLLM = 4;
  RCC_OscInitStruct.PLL.PLLN = 84;
  RCC_OscInitStruct.PLL.PLLP = RCC_PLLP_DIV2;
  RCC_OscInitStruct.PLL.PLLQ = 4;
  if (HAL_RCC_OscConfig(&RCC_OscInitStruct) != HAL_OK)
  {
    Error_Handler();
  }

  /** Initializes the CPU, AHB and APB buses clocks
  */
  RCC_ClkInitStruct.ClockType = RCC_CLOCKTYPE_HCLK|RCC_CLOCKTYPE_SYSCLK
                              |RCC_CLOCKTYPE_PCLK1|RCC_CLOCKTYPE_PCLK2;
  RCC_ClkInitStruct.SYSCLKSource = RCC_SYSCLKSOURCE_PLLCLK;
  RCC_ClkInitStruct.AHBCLKDivider = RCC_SYSCLK_DIV1;
  RCC_ClkInitStruct.APB1CLKDivider = RCC_HCLK_DIV2;
  RCC_ClkInitStruct.APB2CLKDivider = RCC_HCLK_DIV1;

  if (HAL_RCC_ClockConfig(&RCC_ClkInitStruct, FLASH_LATENCY_2) != HAL_OK)
  {
    Error_Handler();
  }

  /** Enables the Clock Security System
  */
  HAL_RCC_EnableCSS();
}

/**
  * @brief NVIC Configuration.
  * @retval None
  */
static void MX_NVIC_Init(void)
{
  /* USART2_IRQn interrupt configuration */
  HAL_NVIC_SetPriority(USART2_IRQn, 8, 0);
  HAL_NVIC_EnableIRQ(USART2_IRQn);
  /* DMA1_Stream5_IRQn interrupt configuration */
  HAL_NVIC_SetPriority(DMA1_Stream5_IRQn, 8, 0);
  HAL_NVIC_EnableIRQ(DMA1_Stream5_IRQn);
  /* ADC_IRQn interrupt configuration */
  HAL_NVIC_SetPriority(ADC_IRQn, 7, 0);
  HAL_NVIC_EnableIRQ(ADC_IRQn);
  /* TIM1_UP_TIM10_IRQn interrupt configuration */
  HAL_NVIC_SetPriority(TIM1_UP_TIM10_IRQn, 5, 0);
  HAL_NVIC_EnableIRQ(TIM1_UP_TIM10_IRQn);
  /* TIM1_BRK_TIM9_IRQn interrupt configuration */
  HAL_NVIC_SetPriority(TIM1_BRK_TIM9_IRQn, 9, 0);
  HAL_NVIC_EnableIRQ(TIM1_BRK_TIM9_IRQn);
  /* EXTI15_10_IRQn interrupt configuration */
  HAL_NVIC_SetPriority(EXTI15_10_IRQn, 8, 0);
  HAL_NVIC_EnableIRQ(EXTI15_10_IRQn);
}

static void MX_ADC1_Init(void)
{

  ADC_InjectionConfTypeDef sConfigInjected = {0};
  ADC_ChannelConfTypeDef sConfig = {0};

  /** Configure the global features of the ADC (Clock, Resolution, Data Alignment and number of conversion)
  */
  hadc1.Instance = ADC1;
  hadc1.Init.ClockPrescaler = ADC_CLOCK_SYNC_PCLK_DIV4;
  hadc1.Init.Resolution = ADC_RESOLUTION_12B;
  hadc1.Init.ScanConvMode = ENABLE;
  hadc1.Init.ContinuousConvMode = DISABLE;
  hadc1.Init.DiscontinuousConvMode = DISABLE;
  hadc1.Init.ExternalTrigConvEdge = ADC_EXTERNALTRIGCONVEDGE_NONE;
  hadc1.Init.ExternalTrigConv = ADC_SOFTWARE_START;
  hadc1.Init.DataAlign = ADC_DATAALIGN_LEFT;
  hadc1.Init.NbrOfConversion = 2;
  hadc1.Init.DMAContinuousRequests = DISABLE;
  hadc1.Init.EOCSelection = ADC_EOC_SINGLE_CONV;
  if (HAL_ADC_Init(&hadc1) != HAL_OK)
  {
    Error_Handler();
  }

  /** Configures for the selected ADC injected channel its corresponding rank in the sequencer and its sample time
  */
  sConfigInjected.InjectedChannel = ADC_CHANNEL_0;
  sConfigInjected.InjectedRank = 1;
  sConfigInjected.InjectedNbrOfConversion = 3;
  sConfigInjected.InjectedSamplingTime = ADC_SAMPLETIME_15CYCLES;
  sConfigInjected.ExternalTrigInjecConvEdge = ADC_EXTERNALTRIGINJECCONVEDGE_RISING;
  sConfigInjected.ExternalTrigInjecConv = ADC_EXTERNALTRIGINJECCONV_T1_CC4;
  sConfigInjected.AutoInjectedConv = DISABLE;
  sConfigInjected.InjectedDiscontinuousConvMode = DISABLE;
  sConfigInjected.InjectedOffset = 0;
  if (HAL_ADCEx_InjectedConfigChannel(&hadc1, &sConfigInjected) != HAL_OK)
  {
    Error_Handler();
  }

  /** Configures for the selected ADC injected channel its corresponding rank in the sequencer and its sample time
  */
  sConfigInjected.InjectedChannel = ADC_CHANNEL_11;
  sConfigInjected.InjectedRank = 2;
  if (HAL_ADCEx_InjectedConfigChannel(&hadc1, &sConfigInjected) != HAL_OK)
  {
    Error_Handler();
  }

  /** Configures for the selected ADC injected channel its corresponding rank in the sequencer and its sample time
  */
  sConfigInjected.InjectedChannel = ADC_CHANNEL_10;
  sConfigInjected.InjectedRank = 3;
  if (HAL_ADCEx_InjectedConfigChannel(&hadc1, &sConfigInjected) != HAL_OK)
  {
    Error_Handler();
  }

  /** Configure for the selected ADC regular channel its corresponding rank in the sequencer and its sample time.
  */
  sConfig.Channel = ADC_CHANNEL_1;
  sConfig.Rank = 1;
  sConfig.SamplingTime = ADC_SAMPLETIME_28CYCLES;
  sConfig.Offset = 0;

  if (HAL_ADC_ConfigChannel(&hadc1, &sConfig) != HAL_OK)
  {
    Error_Handler();
  }

  /** Configure for the selected ADC regular channel its corresponding rank in the sequencer and its sample time.
  */
  sConfig.Channel = ADC_CHANNEL_12;
  sConfig.Rank = 2;

  if (HAL_ADC_ConfigChannel(&hadc1, &sConfig) != HAL_OK)
  {
    Error_Handler();
  }

}

static void MX_TIM1_Init(void)
{

  TIM_SlaveConfigTypeDef sSlaveConfig = {0};
  TIM_MasterConfigTypeDef sMasterConfig = {0};
  TIM_OC_InitTypeDef sConfigOC = {0};
  TIM_BreakDeadTimeConfigTypeDef sBreakDeadTimeConfig = {0};

  htim1.Instance = TIM1;
  htim1.Init.Prescaler = ((TIM_CLOCK_DIVIDER) - 1);
  htim1.Init.CounterMode = TIM_COUNTERMODE_CENTERALIGNED1;
  htim1.Init.Period = ((PWM_PERIOD_CYCLES) / 2);
  htim1.Init.ClockDivision = TIM_CLOCKDIVISION_DIV2;
  htim1.Init.RepetitionCounter = (REP_COUNTER);
  htim1.Init.AutoReloadPreload = TIM_AUTORELOAD_PRELOAD_DISABLE;
  if (HAL_TIM_Base_Init(&htim1) != HAL_OK)
  {
    Error_Handler();
  }
  if (HAL_TIM_PWM_Init(&htim1) != HAL_OK)
  {
    Error_Handler();
  }
  sSlaveConfig.SlaveMode = TIM_SLAVEMODE_TRIGGER;
  sSlaveConfig.InputTrigger = TIM_TS_ITR1;
  if (HAL_TIM_SlaveConfigSynchro(&htim1, &sSlaveConfig) != HAL_OK)
  {
    Error_Handler();
  }
  sMasterConfig.MasterOutputTrigger = TIM_TRGO_RESET;
  sMasterConfig.MasterSlaveMode = TIM_MASTERSLAVEMODE_DISABLE;
  if (HAL_TIMEx_MasterConfigSynchronization(&htim1, &sMasterConfig) != HAL_OK)
  {
    Error_Handler();
  }
  sConfigOC.OCMode = TIM_OCMODE_PWM1;
  sConfigOC.Pulse = ((PWM_PERIOD_CYCLES) / 4);
  sConfigOC.OCPolarity = TIM_OCPOLARITY_HIGH;
  sConfigOC.OCNPolarity = TIM_OCNPOLARITY_HIGH;
  sConfigOC.OCFastMode = TIM_OCFAST_DISABLE;
  sConfigOC.OCIdleState = TIM_OCIDLESTATE_RESET;
  sConfigOC.OCNIdleState = TIM_OCNIDLESTATE_RESET;
  if (HAL_TIM_PWM_ConfigChannel(&htim1, &sConfigOC, TIM_CHANNEL_1) != HAL_OK)
  {
    Error_Handler();
  }
  if (HAL_TIM_PWM_ConfigChannel(&htim1, &sConfigOC, TIM_CHANNEL_2) != HAL_OK)
  {
    Error_Handler();
  }
  if (HAL_TIM_PWM_ConfigChannel(&htim1, &sConfigOC, TIM_CHANNEL_3) != HAL_OK)
  {
    Error_Handler();
  }
  sConfigOC.OCMode = TIM_OCMODE_PWM2;
  sConfigOC.Pulse = (((PWM_PERIOD_CYCLES) / 2) - (HTMIN));
  if (HAL_TIM_PWM_ConfigChannel(&htim1, &sConfigOC, TIM_CHANNEL_4) != HAL_OK)
  {
    Error_Handler();
  }
  sBreakDeadTimeConfig.OffStateRunMode = TIM_OSSR_ENABLE;
  sBreakDeadTimeConfig.OffStateIDLEMode = TIM_OSSI_ENABLE;
  sBreakDeadTimeConfig.LockLevel = TIM_LOCKLEVEL_1;
  sBreakDeadTimeConfig.DeadTime = 0;
  sBreakDeadTimeConfig.BreakState = TIM_BREAK_ENABLE;
  sBreakDeadTimeConfig.BreakPolarity = TIM_BREAKPOLARITY_LOW;
  sBreakDeadTimeConfig.AutomaticOutput = TIM_AUTOMATICOUTPUT_DISABLE;
  if (HAL_TIMEx_ConfigBreakDeadTime(&htim1, &sBreakDeadTimeConfig) != HAL_OK)
  {
    Error_Handler();
  }
  HAL_TIM_MspPostInit(&htim1);

}

static void MX_TIM3_Init(void)
{

  TIM_MasterConfigTypeDef sMasterConfig = {0};
  TIM_OC_InitTypeDef sConfigOC = {0};

  htim3.Instance = TIM3;
  htim3.Init.Prescaler = 0;
  htim3.Init.CounterMode = TIM_COUNTERMODE_UP;
  htim3.Init.Period = 0x800;
  htim3.Init.ClockDivision = TIM_CLOCKDIVISION_DIV1;
  htim3.Init.AutoReloadPreload = TIM_AUTORELOAD_PRELOAD_DISABLE;
  if (HAL_TIM_PWM_Init(&htim3) != HAL_OK)
  {
    Error_Handler();
  }
  sMasterConfig.MasterOutputTrigger = TIM_TRGO_RESET;
  sMasterConfig.MasterSlaveMode = TIM_MASTERSLAVEMODE_DISABLE;
  if (HAL_TIMEx_MasterConfigSynchronization(&htim3, &sMasterConfig) != HAL_OK)
  {
    Error_Handler();
  }
  sConfigOC.OCMode = TIM_OCMODE_PWM1;
  sConfigOC.Pulse = 0x400;
  sConfigOC.OCPolarity = TIM_OCPOLARITY_HIGH;
  sConfigOC.OCFastMode = TIM_OCFAST_DISABLE;
  if (HAL_TIM_PWM_ConfigChannel(&htim3, &sConfigOC, TIM_CHANNEL_2) != HAL_OK)
  {
    Error_Handler();
  }
  HAL_TIM_MspPostInit(&htim3);

}

static void MX_USART2_UART_Init(void)
{

  huart2.Instance = USART2;
  huart2.Init.BaudRate = 1843200;
  huart2.Init.WordLength = UART_WORDLENGTH_8B;
  huart2.Init.StopBits = UART_STOPBITS_1;
  huart2.Init.Parity = UART_PARITY_NONE;
  huart2.Init.Mode = UART_MODE_TX_RX;
  huart2.Init.HwFlowCtl = UART_HWCONTROL_NONE;
  huart2.Init.OverSampling = UART_OVERSAMPLING_16;
  if (HAL_UART_Init(&huart2) != HAL_OK)
  {
    Error_Handler();
  }

}

static void MX_DMA_Init(void)
{

  /* DMA controller clock enable */
  __HAL_RCC_DMA1_CLK_ENABLE();

}

static void MX_GPIO_Init(void)
{
  GPIO_InitTypeDef GPIO_InitStruct = {0};

  /* GPIO Ports Clock Enable */
  __HAL_RCC_GPIOC_CLK_ENABLE();
  __HAL_RCC_GPIOH_CLK_ENABLE();
  __HAL_RCC_GPIOA_CLK_ENABLE();

  /*Configure GPIO pin Output Level */
  HAL_GPIO_WritePin(GPIOC, M1_PWM_EN_U_Pin|M1_PWM_EN_V_Pin|M1_PWM_EN_W_Pin, GPIO_PIN_RESET);

  /*Configure GPIO pin : Start_Stop_Pin */
  GPIO_InitStruct.Pin = Start_Stop_Pin;
  GPIO_InitStruct.Mode = GPIO_MODE_IT_FALLING;
  GPIO_InitStruct.Pull = GPIO_NOPULL;
  HAL_GPIO_Init(Start_Stop_GPIO_Port, &GPIO_InitStruct);

  /*Configure GPIO pins : M1_PWM_EN_U_Pin M1_PWM_EN_V_Pin M1_PWM_EN_W_Pin */
  GPIO_InitStruct.Pin = M1_PWM_EN_U_Pin|M1_PWM_EN_V_Pin|M1_PWM_EN_W_Pin;
  GPIO_InitStruct.Mode = GPIO_MODE_OUTPUT_PP;
  GPIO_InitStruct.Pull = GPIO_PULLDOWN;
  GPIO_InitStruct.Speed = GPIO_SPEED_FREQ_HIGH;
  HAL_GPIO_Init(GPIOC, &GPIO_InitStruct);

}

__weak void startMediumFrequencyTask(void const * argument)
{
  for(;;)
  {
    osDelay(1);
  }
}

/* USER CODE BEGIN Header_StartUserTask */
/**
* @brief Function implementing the userTask thread.
* @param argument: Not used
* @retval None
*/

/*
 * WARNING: ADD THIS IN mc_interface.c after line 115
 *
    //Force OPEN_LOOP_CURRENT
	pHandle->LastModalitySetByUser = MCM_OPEN_LOOP_CURRENT_MODE;
 * */

int16_t MotorMaxSpeed = 30;
int16_t MotorCurrentSpeed = 0;
int16_t MotorDirection = 1;
int16_t MotorRampAccFactor = 2;

int16_t MC_TargetSpeed = -15;
int16_t MC_CurrentSpeed = 0;
void SetMotorTick(){
	MC_ProgramSpeedRampMotor1(RPM_2_SPEED_UNIT(MotorMaxSpeed * MotorDirection), 1);
	osDelay(MotorCurrentSpeed / 3);
	MC_ProgramSpeedRampMotor1(RPM_2_SPEED_UNIT(0), 0);
	osDelay((MotorMaxSpeed - MotorCurrentSpeed) / 3);
}

void MotorStart(){
	SetMotorTick();
	while (MC_GetSTMStateMotor1() != 6){
		MC_StartMotor1();
		osDelay(1);
	}
}

void MotorStop(){
	while (MC_GetSTMStateMotor1() != 0){
		MC_StopMotor1();
		osDelay(1);
	}
}
//TODO: Check mc sdk's motor control algorithm and if it is not good, implement your own
/* USER CODE END Header_StartUserTask */
void StartUserTask(void const * argument)
{
  /* USER CODE BEGIN StartUserTask */

  /* Infinite loop */
  for(;;)
  {
	  MC_TargetSpeed = 30;
	  osDelay(1500);
	  MC_TargetSpeed = -30;
	  osDelay(500);
  }
  /* USER CODE END StartUserTask */
}

void StartMotorTask(void const * argument)
{
  /* USER CODE BEGIN StartMotorTask */
  MotorStart();

  /* Infinite loop */
  for(;;)
  {
	  //Acceleration
	  if (MC_CurrentSpeed < MC_TargetSpeed){
		  MC_CurrentSpeed ++;
	  }
	  else if (MC_CurrentSpeed > MC_TargetSpeed){
		  MC_CurrentSpeed --;
	  }

	  for (int i = 0; i < MotorRampAccFactor; i++){
		  //Convert to tick format
		  MotorCurrentSpeed = MC_CurrentSpeed;
		  if (MC_CurrentSpeed >= 0){
			  MotorCurrentSpeed = MC_CurrentSpeed;
			  MotorDirection = 1;
		  }
		  else {
			  MotorCurrentSpeed = -MC_CurrentSpeed;
			  MotorDirection = -1;
		  }

		  //Tick
		  SetMotorTick();
	  }
  }
  /* USER CODE END StartMotorTask */
}

void HAL_TIM_PeriodElapsedCallback(TIM_HandleTypeDef *htim)
{
  if (htim->Instance == TIM2) {
    HAL_IncTick();
  }
}

void Error_Handler(void)
{
  __disable_irq();
  while (1)
  {
  }
}
